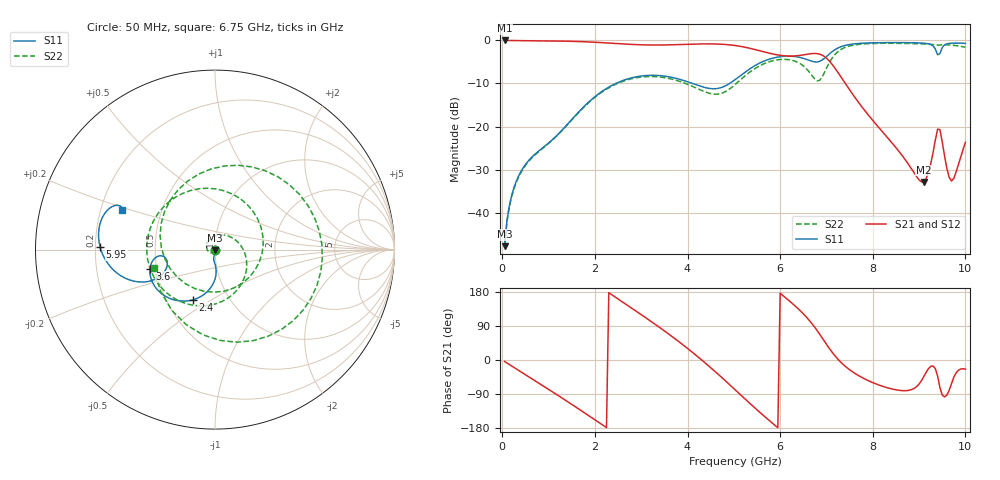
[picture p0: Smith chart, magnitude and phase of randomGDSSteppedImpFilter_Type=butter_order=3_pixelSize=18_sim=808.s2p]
! freq	dB(S11)	phase(S11)	dB(S12)	phase(S12)
!  dB(S21)	phase(S21)	dB(S22)	phase(S22)
!S-par simulation data
#  GHz  S  DB  R 50
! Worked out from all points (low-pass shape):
!   200 points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, 50 MHz to 10 GHz, reference 50 ohm
!   highest |S21| = -0.01 dB at 50 MHz (marker M1); lowest = -32.9 dB at 9.1 GHz (marker M2)
!   |S21| within 3 dB of the highest: start of sweep to 5.782 GHz
!   lowest |S11| = -47.8 dB at 50 MHz (marker M3), VSWR 1.01, Z = 50.1 - j0.402 ohm
!   |S11| at or under -10 dB: start of sweep to 2.45 GHz; 4.106 GHz to 4.908 GHz (801.3 MHz wide, 17.8 % of centre)
!   |S22| runs from -47.6 to -0.7 dB; largest |S21 - S12| = 0
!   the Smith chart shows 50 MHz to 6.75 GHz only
!   S11 on the Smith chart (normalised r, x): 50 MHz: 1.00, -0.01; 2.4 GHz: 0.67, -0.42; 3.6 GHz: 0.46, -0.11; 5.95 GHz: 0.22, +0.01; 6.75 GHz: 0.29, +0.19
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0.05  -47.80 -80.3  -0.01 -3.9  -0.01 -3.9  -47.63 -88.2
0.3  -32.79 -94.7  -0.04 -23.2  -0.04 -23.2  -33.04 -129.1
0.95  -24.28 -95.7  -0.11 -73.4  -0.11 -73.4  -24.39 127.2
1.75  -15.52 -90.3  -0.30 -137.3  -0.30 -137.3  -15.63 -5.5
2.4  -10.26 -114.0  -0.68 169.3  -0.68 169.3  -10.44 -88.3
3.4  -8.17 -156.8  -1.07 85.6  -1.07 85.6  -8.49 148.5
3.6  -8.46 -163.6  -1.03 67.9  -1.03 67.9  -8.84 120.2
4.35  -10.86 -172.0  -0.81 -4.5  -0.81 -4.5  -11.82 -15.7
5.05  -8.93 -153.7  -1.21 -81.1  -1.21 -81.1  -10.03 166.0
5.5  -5.58 -162.4  -2.24 -131.6  -2.24 -131.6  -6.24 74.5
5.95  -3.87 178.6  -3.38 -178.7  -3.38 -178.7  -4.50 2.8
6.4  -3.88 160.1  -3.52 134.0  -3.52 134.0  -5.19 -67.2
6.7  -4.88 155.7  -3.05 93.9  -3.05 93.9  -8.35 -142.5
6.75  -4.99 156.7  -3.03 85.9  -3.03 85.9  -9.01 -162.8
7.05  -3.26 161.8  -4.65 32.6  -4.65 32.6  -5.39 63.4
7.35  -1.33 148.2  -9.08 -10.6  -9.08 -10.6  -1.88 -4.0
7.8  -0.63 126.8  -15.92 -48.4  -15.92 -48.4  -0.81 -55.4
8.35  -0.51 105.2  -22.99 -74.5  -22.99 -74.5  -0.66 -93.9
9.1  -0.65 76.3  -32.86 -44.2  -32.86 -44.2  -0.81 -135.3
9.4  -3.32 64.6  -20.60 -42.5  -20.60 -42.5  -1.11 -151.2
9.7  -0.64 63.8  -32.66 -62.2  -32.66 -62.2  -1.09 -169.1
10  -0.70 50.5  -23.69 -24.1  -23.69 -24.1  -1.63 168.4
